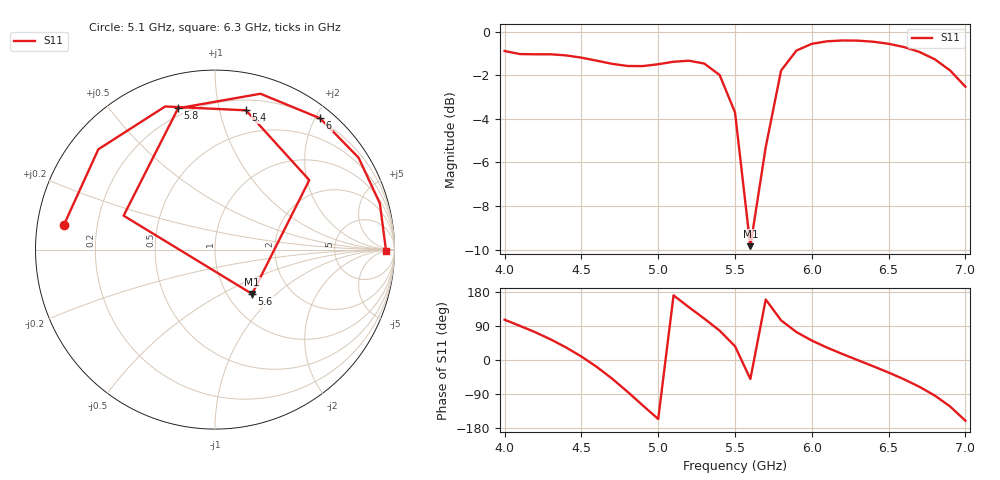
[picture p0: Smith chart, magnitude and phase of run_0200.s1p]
! Touchstone file exported from HFSS 2024.2.0
!  File:  C:/Users/wsak9/Desktop/Sim Fast/Widenad Patch/WP_AI_V1_sweep.aedt
!  Generated:  11:19:32 PM Oct 13, 2026
!  Design:  A1_model
!  Project:  WP_AI_V1_sweep
!  Setup:  Setup1
!  Solution:  Sweep
! Variables:
!  Air_gap = 4.14mm
!  Curve_Amp1 = 2.74
!  Curve_len1 = 1
!  Curve_pos = 10.86mm
!  Extra = 3.67mm
!  H_sub = 0.79mm
!  L_Patch = 17.72mm
!  L_Patch1 = 20.6mm
!  Sx = 2.78mm
!  Sy = 1.03mm
!  WS = 1.09mm
!  W_Patch = 22.52mm
!  W_Patch1 = 16.93mm
!Data is not renormalized
# GHz S MA
! Terminal data exported
! Port[1] = 1
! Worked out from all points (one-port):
!   31 points, 4 GHz to 7 GHz, reference per port
!   lowest |S11| = -9.8 dB at 5.6 GHz (marker M1), VSWR 1.95
!   |S11| at or under -10 dB: nowhere
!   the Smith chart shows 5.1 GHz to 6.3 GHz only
!   S11 on the Smith chart (normalised r, x): 5.1 GHz: 0.08, +0.08; 5.4 GHz: 0.29, +1.21; 5.6 GHz: 1.30, -0.72; 5.8 GHz: 0.16, +0.76; 6 GHz: 0.17, +2.07; 6.3 GHz: 40, -7
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4  0.9022 106.3
4.2  0.8868 73.3
4.3  0.8868 54.4
4.4  0.8816 33.2
4.5  0.8712 9.2
4.6  0.8573 -18.2
4.7  0.8432 -49.3
4.8  0.8337 -83.7
4.9  0.8332 -120.0
5  0.8415 -155.7
5.1  0.8526 170.6
5.2  0.8572 139.3
5.3  0.8444 109.2
5.4  0.7949 77.4
5.5  0.6527 36.4
5.6  0.322 -50.1
5.7  0.5431 159.6
5.8  0.8138 104.6
5.9  0.9045 73.7
6  0.9372 51.3
6.1  0.9497 32.6
6.2  0.954 15.7
6.3  0.9531 -0.5
6.5  0.9373 -33.1
6.7  0.8981 -70.5
6.8  0.864 -93.7
6.9  0.8146 -122.5
7  0.7473 -160.1
